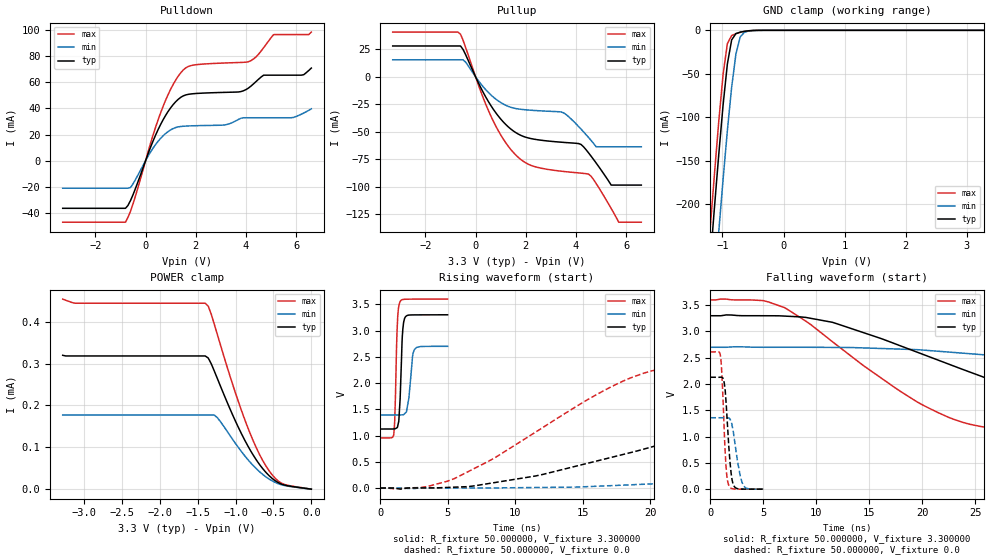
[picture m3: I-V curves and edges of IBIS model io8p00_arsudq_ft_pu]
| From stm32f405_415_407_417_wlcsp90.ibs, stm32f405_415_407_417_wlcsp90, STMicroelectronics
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|   Model io8p00_arsudq_ft_pu
[Model]  io8p00_arsudq_ft_pu
Model_type I/O
Polarity   Non-Inverting
Enable   Active-Low
Vinl =   0.990000V
Vinh =   2.310000V
Vmeas =  1.650000V
Cref =   50.000000pF
Rref =   100.000000M
Vref =   0.0V
C_comp   2.292100pF   2.228000pF   2.366600pF
[Temperature Range]   25.000000   0.125000k   -40.000000
[Pullup Reference]   3.300000V   2.700000V   3.600000V
[Pulldown Reference]   0.0V   0.0V   0.0V
[POWER Clamp Reference]   3.300000V   2.700000V   3.600000V
[GND Clamp Reference]   0.0V   0.0V   0.0V
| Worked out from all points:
|   slope of the pulldown table from 0 to 0.495 V, typ, clamps not added: 20.9 ohm
|   slope of the pullup table from 0 to 0.495 V, typ, clamps not added: 22.6 ohm
|   GND clamp passes 1 mA (typ) near -0.62 V on its own axis
|   rising waveform, R_fixture 50.000000, V_fixture 3.300000: 20-80 % time 190ps typ, 291ps min, 164ps max; typ from 1.12 V to 3.3 V
|   rising waveform, R_fixture 50.000000, V_fixture 0.0: 20-80 % time 19.7ns typ, 51ns min, 10.4ns max; typ from 0.001 V to 2.13 V
|   falling waveform, R_fixture 50.000000, V_fixture 3.300000: 20-80 % time 18.9ns typ, 44.4ns min, 11.4ns max; typ from 3.3 V to 1.12 V
|   falling waveform, R_fixture 50.000000, V_fixture 0.0: 20-80 % time 433ps typ, 633ps min, 343ps max; typ from 2.13 V to 0.001 V
[Pulldown]
|Voltage   I(typ)   I(min)   I(max)
-3.3V     -36.46mA   -21.09mA   -47.09mA
-800mV    -36.46mA   -21.09mA   -47.09mA
-600mV    -30.5mA    -20.55mA   -38.69mA
700mV     31.4mA     19.11mA    41.71mA
1.2V      45.15mA    25.37mA    61.75mA
1.6V      50.35mA    26.5mA     71.06mA
3.1V      52.28mA    27.26mA    74.76mA
4.1V      55.64mA    32.87mA    75.8mA
4.7V      65.47mA    32.87mA    86.49mA
5.1V      65.47mA    32.87mA    96.56mA
6.2V      65.47mA    35.57mA    96.56mA
6.6V      70.92mA    39.71mA    98.46mA
[Pullup]
|Voltage   I(typ)   I(min)   I(max)
-3.3V     28.01mA    15.42mA    40.63mA
-700mV    28.01mA    15.42mA    40.63mA
-400mV    20.31mA    13.47mA    26.93mA
600mV     -25.77mA   -16.23mA   -35.13mA
1.6V      -50.64mA   -28.8mA    -70.96mA
3.5V      -59.52mA   -32.65mA   -85.91mA
4.2V      -61.43mA   -47.48mA   -87.45mA
4.5V      -69.07mA   -55.12mA   -88.37mA
4.8V      -78.22mA   -63.5mA    -96.83mA
5.4V      -98.3mA    -63.5mA    -119.6mA
5.7V      -98.3mA    -63.5mA    -132mA
6.6V      -98.3mA    -63.5mA    -132mA
[GND_clamp]
|Voltage   I(typ)   I(min)   I(max)
-3.3V     -2.319A    -2.398A    -2.292A
-1.2V     -265.5mA   -356.1mA   -227.2mA
-1.13V    -202.6mA   -292.9mA   -164.1mA
-1.06V    -142.2mA   -231.2mA   -104.1mA
-990mV    -85.98mA   -171.6mA   -50.72mA
-920mV    -38.8mA    -115.5mA   -15.28mA
-850mV    -11.08mA   -65.6mA    -6.001mA
-780mV    -3.782mA   -27.42mA   -3.876mA
-710mV    -2.086mA   -7.69mA    -2.381mA
-640mV    -1.147mA   -2.118mA   -1.22mA
-570mV    -523.9uA   -798.4uA   -476.8uA
3.28V     0A         0A         0A
[POWER_clamp]
|Voltage   I(typ)   I(min)   I(max)
-3.28V    319.9uA    177.1uA    454.3uA
-3.12V    318.3uA    177.1uA    444.3uA
-1.4V     318.3uA    177.1uA    444.3uA
-1.36V    313.4uA    177.1uA    437.2uA
-1.28V    282.3uA    177.1uA    394.1uA
-1.24V    264.6uA    170.9uA    369.7uA
-920mV    131.9uA    89.35uA    187.2uA
-760mV    79.47uA    55.13uA    112.7uA
-640mV    48.78uA    35.04uA    68.06uA
-520mV    26.21uA    20.11uA    35uA
-400mV    12.52uA    10.81uA    14.88uA
0V        0A         0A         0A
[Ramp]
| variable   typ   min   max
dV/dt_r  1.27717/19.70736n   0.81531/51.01041n   1.56688/10.34395n
dV/dt_f  1.30524/18.83539n   0.78426/44.46831n   1.58714/11.33778n
R_load = 50.000000
[Rising Waveform]
R_fixture= 50.000000
V_fixture= 3.300000
V_fixture_min= 2.700000
V_fixture_max= 3.600000
|time   V(typ)   V(min)   V(max)
0s        1.125V     1.393V     954.7mV
1.001ns   1.127V     1.393V     1.019V
1.071ns   1.129V     1.393V     1.29V
1.281ns   1.171V     1.393V     3.209V
1.461ns   1.663V     1.392V     3.546V
1.632ns   2.886V     1.395V     3.589V
1.862ns   3.261V     1.432V     3.596V
2.112ns   3.294V     1.704V     3.598V
2.533ns   3.298V     2.642V     3.599V
4.985ns   3.3V       2.7V       3.6V
[Rising Waveform]
R_fixture= 50.000000
V_fixture= 0.0
V_fixture_min= 0.0
V_fixture_max= 0.0
|time   V(typ)   V(min)   V(max)
0s        1.088mV    1.043mV    1.136mV
5.506ns   17.83mV    2.783mV    182.4mV
11.51ns   231.1mV    11.16mV    1.067V
19.02ns   706.8mV    67.68mV    2.143V
27.53ns   1.301V     166.1mV    2.489V
38.04ns   1.843V     353.7mV    2.576V
57.06ns   2.067V     702.7mV    2.609V
89.09ns   2.119V     1.141V     2.613V
117.6ns   2.129V     1.3V       2.613V
249.2ns   2.13V      1.36V      2.613V
[Falling Waveform]
R_fixture= 50.000000
V_fixture= 3.300000
V_fixture_min= 2.700000
V_fixture_max= 3.600000
|time   V(typ)   V(min)   V(max)
0s        3.3V       2.7V       3.6V
5.506ns   3.3V       2.7V       3.561V
11.51ns   3.175V     2.697V     2.806V
22.52ns   2.376V     2.608V     1.363V
31.53ns   1.726V     2.431V     1.075V
41.04ns   1.36V      2.21V      1.014V
49.55ns   1.249V     2.021V     991.5mV
81.58ns   1.151V     1.586V     958.3mV
106.6ns   1.134V     1.464V     955.9mV
249.2ns   1.125V     1.393V     954.7mV
[Falling Waveform]
R_fixture= 50.000000
V_fixture= 0.0
V_fixture_min= 0.0
V_fixture_max= 0.0
|time   V(typ)   V(min)   V(max)
0s        2.13V      1.36V      2.613V
981ps     2.131V     1.36V      2.507V
1.151ns   2.121V     1.359V     1.945V
1.411ns   1.87V      1.36V      683.4mV
1.542ns   1.488V     1.362V     294.8mV
1.742ns   830.4mV    1.355V     76.08mV
2.152ns   99.77mV    1.12V      7.624mV
2.573ns   10.56mV    525.8mV    2.036mV
3.123ns   1.941mV    73.6mV     1.207mV
4.985ns   1.088mV    1.043mV    1.136mV
